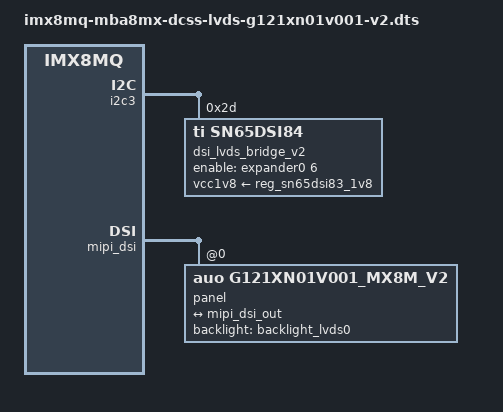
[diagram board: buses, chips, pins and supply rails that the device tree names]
// SPDX-License-Identifier: (GPL-2.0+ OR MIT)
/*
 * Copyright 2020 TQ Systems GmbH
 */

#include "imx8mq-mba8mx-dcss-lvds-g121xn01v001.dts"

/delete-node/ &dsi_lvds_bridge;
/delete-node/ &panel0;

&i2c3 {
	dsi_lvds_bridge_v2: dsi-lvds-bridge-v2@2d {
		compatible = "ti,sn65dsi84";
		reg = <0x2d>;
		enable-gpio = <&expander0 6 GPIO_ACTIVE_HIGH>;
		vcc1v8-supply = <&reg_sn65dsi83_1v8>;
		status = "okay";

		/* Auo G121XN01 V001 12.1-inch 1024x768 LVDS Display */
		sn65dsi84,addresses = < 0x09 0x0A 0x0B 0x0D 0x10 0x11 0x12 0x13
					0x18 0x19 0x1A 0x1B 0x20 0x21 0x22 0x23
					0x24 0x25 0x26 0x27 0x28 0x29 0x2A 0x2B
					0x2C 0x2D 0x2E 0x2F 0x30 0x31 0x32 0x33
					0x34 0x35 0x36 0x37 0x38 0x39 0x3A 0x3B
					0x3C 0x3D 0x3E 0xE0 0x0D>;

		sn65dsi84,values =    < 0x00 0x05 0x10 0x00 0x26 0x00 0x2E 0x00
					0x78 0x00 0x03 0x00 0x00 0x04 0x00 0x00
					0x00 0x03 0x00 0x00 0x21 0x00 0x00 0x00
					0x16 0x00 0x00 0x00 0x08 0x00 0x00 0x00
					0xEF 0x00 0x12 0x00 0xEF 0x00 0x12 0x00
					0x00 0x00 0x00 0x01 0x01>;
	};
};

&mipi_dsi {

	panel@0 {
		reg = <0>;
		status = "okay";

		backlight = <&backlight_lvds0>;
		dsi-lanes = <4>;

		/* Auo G121XN01 V001 12.1-inch 1024x768 LVDS Display */
		compatible = "auo,g121xn01v001_mx8m_v2";
		panel-width-mm  = <246>;
		panel-height-mm = <185>;

		delay,prepare = <120>;

		port {
			lvds_bridge_in: endpoint {
				remote-endpoint = <&mipi_dsi_out>;
			};
		};
	};
};
